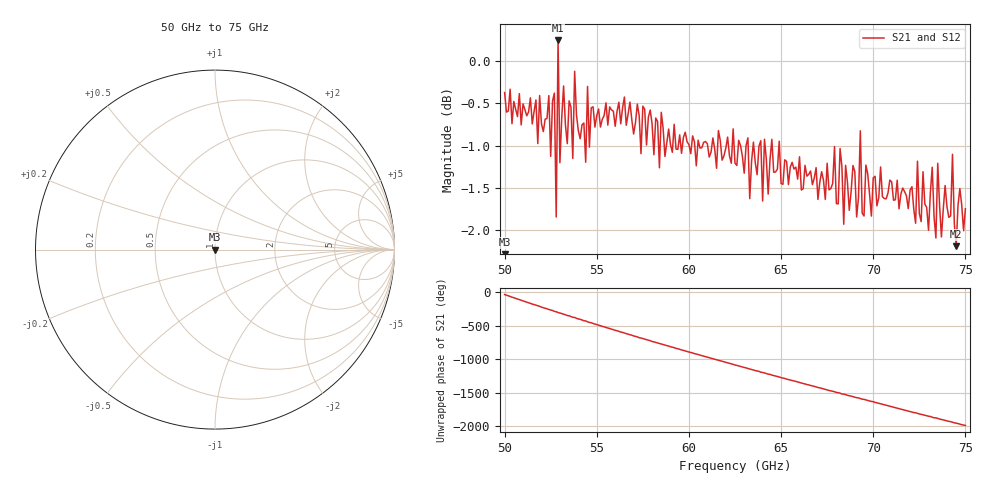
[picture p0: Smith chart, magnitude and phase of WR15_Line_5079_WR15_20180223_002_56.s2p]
# GHZ S RI R 50
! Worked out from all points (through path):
!   251 points, 50 GHz to 75 GHz, reference 50 ohm
!   highest |S21| = 0.24 dB at 52.9 GHz (marker M1); lowest = -2.2 dB at 74.5 GHz (marker M2)
!   lowest |S11| = - dB at 50 GHz (marker M3), VSWR 1.00, Z = 50 - j2.06e-16 ohm
!   |S11| at or under -10 dB: start of sweep to end of sweep
!   |S22| runs from - to - dB; largest |S21 - S12| = 1.5e-15
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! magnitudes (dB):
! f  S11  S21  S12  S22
! 50 GHz  -  -0.4  -0.4  -
! 52.4 GHz  -  -0.4  -0.4  -
! 52.5 GHz  -  -1.1  -1.1  -
! 52.7 GHz  -  -0.4  -0.4  -
! 52.8 GHz  -  -1.8  -1.8  -
! 52.9 GHz  -  0.2  0.2  -
! 53 GHz  -  -1.2  -1.2  -
! 53.2 GHz  -  -0.3  -0.3  -
! 54.2 GHz  -  -0.8  -0.8  -
! 58.4 GHz  -  -1.3  -1.3  -
! 58.5 GHz  -  -0.6  -0.6  -
! 62.5 GHz  -  -1.2  -1.2  -
! 66.7 GHz  -  -1.5  -1.5  -
! 70.9 GHz  -  -1.4  -1.4  -
! 73 GHz  -  -2.0  -2.0  -
! 73.2 GHz  -  -1.3  -1.3  -
! 73.4 GHz  -  -2.1  -2.1  -
! 73.5 GHz  -  -1.2  -1.2  -
! 73.7 GHz  -  -2.1  -2.1  -
! 74.3 GHz  -  -1.1  -1.1  -
! 74.5 GHz  -  -2.2  -2.2  -
! 75 GHz  -  -1.7  -1.7  -
